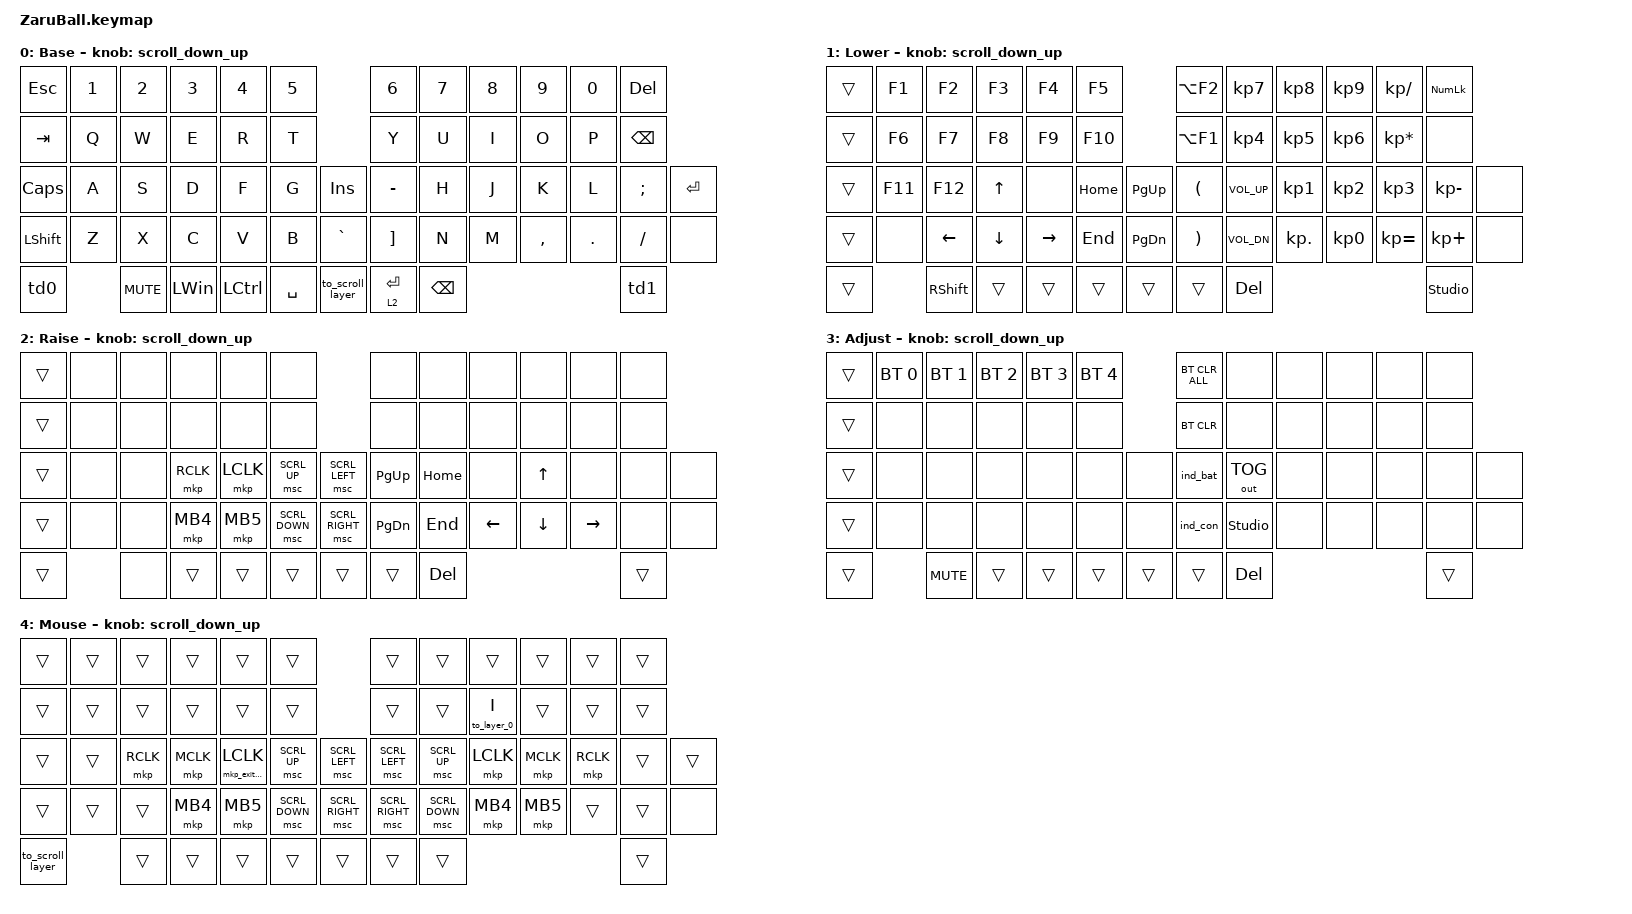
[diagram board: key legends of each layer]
#include <behaviors/rgbled_widget.dtsi>
#include <input/processors.dtsi>
#include <dt-bindings/zmk/input_transform.h>
#include <behaviors.dtsi>
#include <dt-bindings/zmk/bt.h>
#include <dt-bindings/zmk/keys.h>
#include <dt-bindings/zmk/outputs.h>
#include <dt-bindings/zmk/pointing.h>

#define BASE 0
#define LOWER 1
#define RAISE 2
#define ADJUST 3
#define MOUSE 4
#define SCROLL MOUSE

/ {
    zip_temp_layer_threshold: zip_temp_layer_threshold {
        compatible = "zmk,input-processor-temp-layer-threshold";
        #input-processor-cells = <2>;
        threshold = <100>;
        reset-timeout-ms = <1000>;
        // Iキー（position 20）以外ではMouseレイヤーを解除しない
        excluded-positions = <0 1 2 3 4 5 6 7 8 9 10 11 12 13 14 15 16 17 18 19 21 22 23 24 25 26 27 28 29 30 31 32 33 34 35 36 37 38 39 40 41 42 43 44 45 46 47 48 49 50 51 52 53 54 55 56 57 58 59 60>;
    };
};

// ZMK behavior 略語メモ:
// &kp  = Key Press        (通常のキー入力)
// &mt  = Mod-Tap          (短押しでキー、長押しで修飾キー)
// &lt  = Layer-Tap        (短押しでキー、長押しでレイヤー)
// &mo  = Momentary Layer  (押している間だけレイヤー有効)
// &tog = Toggle Layer     (レイヤーのオン/オフ切替)
// &to  = To Layer         (指定レイヤーへ移動)
// &td  = Tap Dance        (押した回数で動作を変える)
// &sk  = Sticky Key       (次のキーまで押しっぱなし扱い)
// &mkp = Mouse Key Press  (マウスボタン)
// &msc = Mouse Scroll     (マウススクロール)

// スクロール量の設定

#undef ZMK_POINTING_DEFAULT_SCRL_VAL
#define ZMK_POINTING_DEFAULT_SCRL_VAL 100

// トラックボールの設定(AML, SCROLL)

&trackball_listener {
    // Mouse レイヤー以外ではトラックボール移動量を 0 にして無効化
    input-processors = <
                         &zip_temp_layer_threshold MOUSE 2147483647
                         &zip_xy_scaler 0 1
    >;

    mouse_move {
        layers = <MOUSE>;
        input-processors = <
                        // トラックボールの向きの変更(ZaruBallv1とv2,v3ではセンサーの向きが異なるので調整してください。デフォルトではv2,v3用)
                        // &zip_xy_transform (INPUT_TRANSFORM_XY_SWAP | INPUT_TRANSFORM_Y_INVERT | INPUT_TRANSFORM_X_INVERT)
                         &zip_xy_transform (INPUT_TRANSFORM_Y_INVERT)
        >;
    };

    scroller {
        // スクロール変換も Mouse レイヤー中のみ有効
        layers = <SCROLL>;
        input-processors = <
                            // スクロールの向きの変更
                            &zip_xy_transform (INPUT_TRANSFORM_XY_SWAP | INPUT_TRANSFORM_X_INVERT)
                            &zip_xy_scaler 1 20 // スクロールの感度(default: x20)
                            &zip_xy_to_scroll_mapper
        >;
    };
};

/ {
    conditional_layers {
        compatible = "zmk,conditional-layers";

        tri_layer {
            if-layers = <1 2>;
            then-layer = <3>;
        };
    };
};

/ {
    behaviors {
        // スクロール用のbehaviorの設定

        scroll_down_up: behavior_sensor_rotate_mouse_wheel_down_up {
            compatible = "zmk,behavior-sensor-rotate";
            #sensor-binding-cells = <0>;
            bindings = <&msc SCRL_DOWN>, <&msc SCRL_UP>;

            tap-ms = <20>; // スクロールのタップ時間
        };

        td0: tap_dance_0 {
            compatible = "zmk,behavior-tap-dance";
            #binding-cells = <0>;
            tapping-term-ms = <200>;
            bindings = <&mt LALT LANG2>, <&mo RAISE>, <&mo MOUSE>;
        };

        td1: tap_dance_1 {
            compatible = "zmk,behavior-tap-dance";
            #binding-cells = <0>;
            tapping-term-ms = <200>;
            bindings = <&mt RCTL LANG1>, <&mo RAISE>, <&mo 5>;
        };
    };
};

&sl { release-after-ms = <250>; }; // time needed for double click (for mkp_exit_AML)
/ {
    macros {
        // When in AML, move to default layer when key (except mouse button) pressed

        to_layer_0: to_layer_0 {
            compatible = "zmk,behavior-macro-one-param";
            #binding-cells = <1>;
            bindings = <&to BASE &macro_param_1to1 &kp MACRO_PLACEHOLDER>;
            label = "TO_layer_0";
        };

        // When LCLK pressed, exit AML (after 250ms cause by sticky layer)

        mkp_exit_AML: mkp_exit_AML {
            compatible = "zmk,behavior-macro-one-param";
            #binding-cells = <1>;
            bindings =
                <&macro_press>,
                <&macro_param_1to1 &mkp MACRO_PLACEHOLDER>,
                <&macro_pause_for_release>,
                <&macro_release>,
                <&macro_param_1to1 &mkp MACRO_PLACEHOLDER>,
                <&macro_tap>,
                <&sl MOUSE>;

            label = "MKP_EXIT_AML";
        };

        // Support swapping into Scroll layer when AML is activated

        to_scroll_layer: to_scroll_layer {
            compatible = "zmk,behavior-macro";
            #binding-cells = <0>;
            bindings =
                <&to SCROLL>,
                <&macro_press>,
                <&mo SCROLL>,
                <&macro_pause_for_release>,
                <&macro_release>,
                <&mo SCROLL>;
        };
    };
};

/ {
    keymap {
        compatible = "zmk,keymap";

        base_layer {
            display-name = "Base";
            sensor-bindings = <&scroll_down_up>;
            bindings = <
&kp ESC    &kp N1  &kp N2      &kp N3    &kp N4     &kp N5                       &kp NUMBER_6  &kp N7    &kp N8  &kp N9     &kp N0   &kp DELETE
&kp TAB    &kp Q   &kp W       &kp E     &kp R      &kp T                        &kp Y         &kp U     &kp I   &kp O      &kp P    &kp BACKSPACE
&kp CAPS   &kp A   &kp S       &kp D     &kp F      &kp G      &kp INS           &kp MINUS     &kp H     &kp J   &kp K      &kp L    &kp SEMI       &kp ENTER
&kp LSHFT  &kp Z   &kp X       &kp C     &kp V      &kp B      &kp GRAVE         &kp RBKT      &kp N     &kp M   &kp COMMA  &kp DOT  &kp FSLH       &none
&td0               &kp C_MUTE  &kp LWIN  &kp LCTRL  &kp SPACE  &to_scroll_layer  &lt 2 RET     &kp BSPC                              &td1
            >;
        };

        lower_layer {
            display-name = "Lower";
            sensor-bindings = <&scroll_down_up>;
            bindings = <
&trans  &kp F1   &kp F2     &kp F3    &kp F4     &kp F5               &kp LA(F2)  &kp KP_N7     &kp KP_N8   &kp KP_N9  &kp KP_SLASH     &kp KP_NUMLOCK
&trans  &kp F6   &kp F7     &kp F8    &kp F9     &kp F10              &kp LA(F1)  &kp KP_N4     &kp KP_N5   &kp KP_N6  &kp KP_MULTIPLY  &none
&trans  &kp F11  &kp F12    &kp UP    &none      &kp HOME  &kp PG_UP  &kp LPAR    &kp C_VOL_UP  &kp KP_N1   &kp KP_N2  &kp KP_N3        &kp KP_MINUS    &none
&trans  &none    &kp LEFT   &kp DOWN  &kp RIGHT  &kp END   &kp PG_DN  &kp RPAR    &kp C_VOL_DN  &kp KP_DOT  &kp KP_N0  &kp KP_EQUAL     &kp KP_PLUS     &none
&trans           &kp RSHFT  &trans    &trans     &trans    &trans     &trans      &kp DEL                                               &studio_unlock
            >;
        };

        raise_layer {
            display-name = "Raise";
            sensor-bindings = <&scroll_down_up>;
            bindings = <
&trans  &none  &none  &none      &none      &none                            &none      &none     &none     &none     &none      &none
&trans  &none  &none  &none      &none      &none                            &none      &none     &none     &none     &none      &none
&trans  &none  &none  &mkp RCLK  &mkp LCLK  &msc SCRL_UP    &msc SCRL_LEFT   &kp PG_UP  &kp HOME  &none     &kp UP    &none      &none   &none
&trans  &none  &none  &mkp MB4   &mkp MB5   &msc SCRL_DOWN  &msc SCRL_RIGHT  &kp PG_DN  &kp END   &kp LEFT  &kp DOWN  &kp RIGHT  &none   &none
&trans         &none  &trans     &trans     &trans          &trans           &trans     &kp DEL                                  &trans
            >;
        };

        adjust_layer {
            display-name = "Adjust";
            sensor-bindings = <&scroll_down_up>;
            bindings = <
&trans  &bt BT_SEL 0  &bt BT_SEL 1  &bt BT_SEL 2  &bt BT_SEL 3  &bt BT_SEL 4          &bt BT_CLR_ALL  &none           &none  &none  &none  &none
&trans  &none         &none         &none         &none         &none                 &bt BT_CLR      &none           &none  &none  &none  &none
&trans  &none         &none         &none         &none         &none         &none   &ind_bat        &out OUT_TOG    &none  &none  &none  &none   &none
&trans  &none         &none         &none         &none         &none         &none   &ind_con        &studio_unlock  &none  &none  &none  &none   &none
&trans                &kp C_MUTE    &trans        &trans        &trans        &trans  &trans          &kp DEL                              &trans
            >;
        };

        mouse_layer {
            display-name = "Mouse";
            sensor-bindings = <&scroll_down_up>;
            bindings = <
&trans                       &trans         &trans         &trans         &trans              &trans                       &trans         &trans       &trans       &trans       &trans         &trans
&trans                       &trans         &trans         &trans         &trans              &trans                       &trans         &trans       &to_layer_0 I &trans       &trans         &trans
&trans                       &trans         &mkp RCLK       &mkp MCLK       &mkp_exit_AML LCLK  &msc SCRL_UP                &msc SCRL_LEFT &msc SCRL_LEFT &msc SCRL_UP &mkp LCLK      &mkp MCLK      &mkp RCLK       &trans          &trans
&trans                       &trans         &trans         &mkp MB4        &mkp MB5            &msc SCRL_DOWN              &msc SCRL_RIGHT &msc SCRL_RIGHT &msc SCRL_DOWN &mkp MB4       &mkp MB5       &trans          &trans          &none
&to_scroll_layer                            &trans          &trans          &trans              &trans          &trans           &trans           &trans                                                              &trans
            >;
        };

        // Extra layer can be added in ZMK STUDIO

        extra1 { status = "reserved"; };

        extra2 { status = "reserved"; };
    };
};
